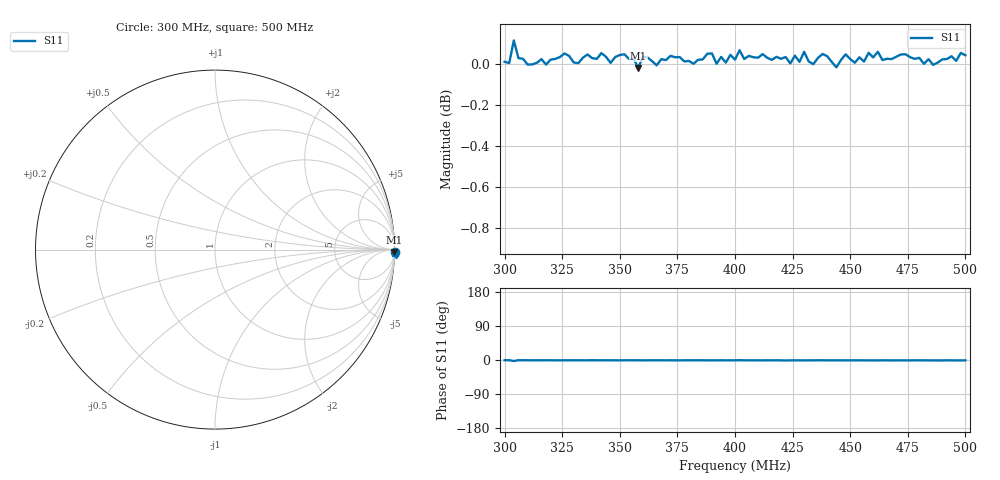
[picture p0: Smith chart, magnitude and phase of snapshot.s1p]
! Copper dipole shortened exposed feed and relocated clamps; near-total reflection capture; calibration enabled
# Hz S RI R 50
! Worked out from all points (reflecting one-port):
!   101 points, 300 MHz to 500 MHz, reference 50 ohm
!   lowest |S11| = 0.0 dB at 358 MHz (marker M1), VSWR 834.49, Z = 1.24e+03 - j7.1e+03 ohm
!   phase of S11 starts at -1 deg and turns -0 deg over the sweep
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3e8  1.001 -0.0113
3.02e8  1 -0.011
3.04e8  1.012 -0.0467
3.06e8  1.003 -0.00916
3.18e8  0.9994 -0.0124
3.26e8  1.006 -0.0135
3.32e8  1 -0.0137
3.38e8  1.003 -0.00996
3.5e8  1.005 -0.0162
3.58e8  0.9975 -0.0136
3.6e8  1.004 -0.015
3.66e8  0.999 -0.0148
3.76e8  1.004 -0.0173
3.8e8  1.001 -0.0123
4e8  1.002 -0.0143
4.02e8  1.008 -0.00861
4.04e8  1.002 -0.0156
4.18e8  1.004 -0.0136
4.22e8  1.003 -0.0219
4.26e8  1.004 -0.016
4.3e8  1.006 -0.0191
4.34e8  0.9996 -0.0168
4.38e8  1.005 -0.0129
4.44e8  0.9979 -0.0144
4.5e8  1.002 -0.0168
4.76e8  1.003 -0.0183
4.86e8  0.9992 -0.018
5e8  1.005 -0.0168
